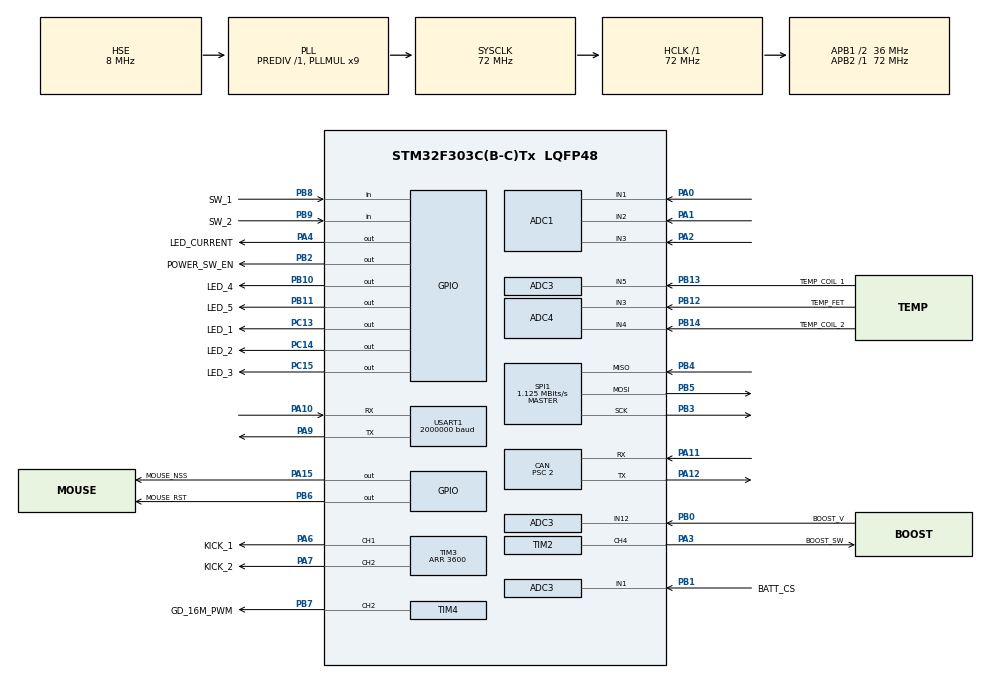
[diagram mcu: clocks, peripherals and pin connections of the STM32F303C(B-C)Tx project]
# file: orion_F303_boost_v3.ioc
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ADC1.ContinuousConvMode=ENABLE
ADC1.DMAContinuousRequests=DISABLE
ADC1.EnableRegularConversion=DISABLE
ADC1.InjNumberOfConversion=3
ADC1.InjectedChannel-10\#ChannelInjectedConversion=ADC_CHANNEL_3
ADC1.InjectedChannel-8\#ChannelInjectedConversion=ADC_CHANNEL_1
ADC1.InjectedChannel-9\#ChannelInjectedConversion=ADC_CHANNEL_2
ADC1.InjectedConvMode=AutoInjected
ADC1.InjectedOffset-10\#ChannelInjectedConversion=0
ADC1.InjectedOffset-8\#ChannelInjectedConversion=0
ADC1.InjectedOffset-9\#ChannelInjectedConversion=0
ADC1.InjectedOffsetNumber-10\#ChannelInjectedConversion=ADC_OFFSET_NONE
ADC1.InjectedOffsetNumber-8\#ChannelInjectedConversion=ADC_OFFSET_NONE
ADC1.InjectedOffsetNumber-9\#ChannelInjectedConversion=ADC_OFFSET_NONE
ADC1.InjectedRank-10\#ChannelInjectedConversion=3
ADC1.InjectedRank-8\#ChannelInjectedConversion=1
ADC1.InjectedRank-9\#ChannelInjectedConversion=2
ADC1.InjectedSamplingTime-10\#ChannelInjectedConversion=ADC_SAMPLETIME_181CYCLES_5
ADC1.InjectedSamplingTime-8\#ChannelInjectedConversion=ADC_SAMPLETIME_181CYCLES_5
ADC1.InjectedSamplingTime-9\#ChannelInjectedConversion=ADC_SAMPLETIME_181CYCLES_5
ADC1.InjectedSamplingTimeOPAMP-10\#ChannelInjectedConversion=ADC_SAMPLETIME_61CYCLES_5
ADC1.InjectedSamplingTimeOPAMP-8\#ChannelInjectedConversion=ADC_SAMPLETIME_61CYCLES_5
ADC1.InjectedSamplingTimeOPAMP-9\#ChannelInjectedConversion=ADC_SAMPLETIME_61CYCLES_5
ADC1.Rank1_Channel=ADC_CHANNEL_1
ADC1.Rank2_Channel=ADC_CHANNEL_2
ADC1.Rank3_Channel=ADC_CHANNEL_3
ADC1.master=1
ADC3.ContinuousConvMode=ENABLE
ADC3.DMAContinuousRequests=DISABLE
ADC3.EOCSelection=ADC_EOC_SEQ_CONV
ADC3.EnableInjectedConversion=ENABLE
ADC3.EnableRegularConversion=DISABLE
ADC3.InjNumberOfConversion=3
ADC3.InjectedChannel-3\#ChannelInjectedConversion=ADC_CHANNEL_1
ADC3.InjectedChannel-4\#ChannelInjectedConversion=ADC_CHANNEL_5
ADC3.InjectedChannel-5\#ChannelInjectedConversion=ADC_CHANNEL_12
ADC3.InjectedConvMode=AutoInjected
ADC3.InjectedOffset-3\#ChannelInjectedConversion=0
ADC3.InjectedOffset-4\#ChannelInjectedConversion=0
ADC3.InjectedOffset-5\#ChannelInjectedConversion=0
ADC3.InjectedOffsetNumber-3\#ChannelInjectedConversion=ADC_OFFSET_NONE
ADC3.InjectedOffsetNumber-4\#ChannelInjectedConversion=ADC_OFFSET_NONE
ADC3.InjectedOffsetNumber-5\#ChannelInjectedConversion=ADC_OFFSET_NONE
ADC3.InjectedRank-3\#ChannelInjectedConversion=1
ADC3.InjectedRank-4\#ChannelInjectedConversion=2
ADC3.InjectedRank-5\#ChannelInjectedConversion=3
ADC3.InjectedSamplingTime-3\#ChannelInjectedConversion=ADC_SAMPLETIME_181CYCLES_5
ADC3.InjectedSamplingTime-4\#ChannelInjectedConversion=ADC_SAMPLETIME_181CYCLES_5
ADC3.InjectedSamplingTime-5\#ChannelInjectedConversion=ADC_SAMPLETIME_181CYCLES_5
ADC3.InjectedSamplingTimeOPAMP-3\#ChannelInjectedConversion=ADC_SAMPLETIME_61CYCLES_5
ADC3.InjectedSamplingTimeOPAMP-4\#ChannelInjectedConversion=ADC_SAMPLETIME_61CYCLES_5
ADC3.InjectedSamplingTimeOPAMP-5\#ChannelInjectedConversion=ADC_SAMPLETIME_61CYCLES_5
ADC3.Mode=ADC_MODE_INDEPENDENT
ADC3.Overrun=ADC_OVR_DATA_OVERWRITTEN
ADC3.Rank1_Channel=ADC_CHANNEL_1
ADC3.Rank2_Channel=ADC_CHANNEL_5
ADC3.Rank3_Channel=ADC_CHANNEL_12
ADC3.master=1
ADC4.ContinuousConvMode=ENABLE
ADC4.DMAContinuousRequests=DISABLE
ADC4.EOCSelection=ADC_EOC_SINGLE_CONV
ADC4.EnableInjectedConversion=ENABLE
ADC4.EnableRegularConversion=DISABLE
ADC4.InjNumberOfConversion=2
ADC4.InjectedChannel-2\#ChannelInjectedConversion=ADC_CHANNEL_3
ADC4.InjectedChannel-3\#ChannelInjectedConversion=ADC_CHANNEL_4
ADC4.InjectedConvMode=AutoInjected
ADC4.InjectedOffset-2\#ChannelInjectedConversion=0
ADC4.InjectedOffset-3\#ChannelInjectedConversion=0
ADC4.InjectedOffsetNumber-2\#ChannelInjectedConversion=ADC_OFFSET_NONE
ADC4.InjectedOffsetNumber-3\#ChannelInjectedConversion=ADC_OFFSET_NONE
ADC4.InjectedRank-2\#ChannelInjectedConversion=1
ADC4.InjectedRank-3\#ChannelInjectedConversion=2
ADC4.InjectedSamplingTime-2\#ChannelInjectedConversion=ADC_SAMPLETIME_181CYCLES_5
ADC4.InjectedSamplingTime-3\#ChannelInjectedConversion=ADC_SAMPLETIME_181CYCLES_5
ADC4.InjectedSamplingTimeOPAMP-2\#ChannelInjectedConversion=ADC_SAMPLETIME_61CYCLES_5
ADC4.InjectedSamplingTimeOPAMP-3\#ChannelInjectedConversion=ADC_SAMPLETIME_61CYCLES_5
ADC4.Rank1_Channel=ADC_CHANNEL_3
ADC4.Rank2_Channel=ADC_CHANNEL_4
CAN.BS1=CAN_BS1_9TQ
CAN.BS2=CAN_BS2_8TQ
CAN.CalculateBaudRate=1000000
CAN.CalculateTimeBit=1000
CAN.CalculateTimeQuantum=55.55555555555556
CAN.NART=ENABLE
CAN.Prescaler=2
CAN.SJW=CAN_SJW_1TQ
Dma.ADC1.2.Direction=DMA_PERIPH_TO_MEMORY
Dma.ADC1.2.Instance=DMA1_Channel1
Dma.ADC1.2.MemDataAlignment=DMA_MDATAALIGN_HALFWORD
Dma.ADC1.2.MemInc=DMA_MINC_ENABLE
Dma.ADC1.2.Mode=DMA_CIRCULAR
Dma.ADC1.2.PeriphDataAlignment=DMA_PDATAALIGN_HALFWORD
Dma.ADC1.2.PeriphInc=DMA_PINC_DISABLE
Dma.ADC1.2.Priority=DMA_PRIORITY_LOW
Dma.ADC3.0.Direction=DMA_PERIPH_TO_MEMORY
Dma.ADC3.0.Instance=DMA2_Channel5
Dma.ADC3.0.MemDataAlignment=DMA_MDATAALIGN_HALFWORD
Dma.ADC3.0.MemInc=DMA_MINC_ENABLE
Dma.ADC3.0.Mode=DMA_CIRCULAR
Dma.ADC3.0.PeriphDataAlignment=DMA_PDATAALIGN_HALFWORD
Dma.ADC3.0.PeriphInc=DMA_PINC_DISABLE
Dma.ADC3.0.Priority=DMA_PRIORITY_MEDIUM
Dma.ADC4.1.Direction=DMA_PERIPH_TO_MEMORY
Dma.ADC4.1.Instance=DMA2_Channel2
Dma.ADC4.1.MemDataAlignment=DMA_MDATAALIGN_HALFWORD
Dma.ADC4.1.MemInc=DMA_MINC_ENABLE
Dma.ADC4.1.Mode=DMA_CIRCULAR
Dma.ADC4.1.PeriphDataAlignment=DMA_PDATAALIGN_HALFWORD
Dma.ADC4.1.PeriphInc=DMA_PINC_DISABLE
Dma.ADC4.1.Priority=DMA_PRIORITY_LOW
Dma.Request0=ADC3
Dma.Request1=ADC4
Dma.Request2=ADC1
Dma.Request3=USART1_TX
Dma.USART1_TX.3.Direction=DMA_MEMORY_TO_PERIPH
Dma.USART1_TX.3.Instance=DMA1_Channel4
Dma.USART1_TX.3.MemDataAlignment=DMA_MDATAALIGN_BYTE
Dma.USART1_TX.3.MemInc=DMA_MINC_ENABLE
Dma.USART1_TX.3.Mode=DMA_NORMAL
Dma.USART1_TX.3.PeriphDataAlignment=DMA_PDATAALIGN_BYTE
Dma.USART1_TX.3.PeriphInc=DMA_PINC_DISABLE
Dma.USART1_TX.3.Priority=DMA_PRIORITY_LOW
IWDG.Reload=100
IWDG.Window=100
Mcu.Family=STM32F3
Mcu.Name=STM32F303C(B-C)Tx
Mcu.Package=LQFP48
NVIC.DMA1_Channel1_IRQn=true\:0\:0\:false\:false\:true\:false\:true\:true
NVIC.DMA1_Channel4_IRQn=true\:0\:0\:false\:false\:true\:false\:true\:true
NVIC.DMA2_Channel2_IRQn=true\:0\:0\:false\:false\:true\:false\:true\:true
NVIC.DMA2_Channel5_IRQn=true\:0\:0\:false\:false\:true\:false\:true\:true
NVIC.PriorityGroup=NVIC_PRIORITYGROUP_4
NVIC.USART1_IRQn=true\:0\:0\:false\:false\:true\:true\:true\:true
NVIC.USB_HP_CAN_TX_IRQn=true\:1\:0\:true\:false\:true\:true\:true\:true
NVIC.USB_LP_CAN_RX0_IRQn=true\:1\:0\:true\:false\:true\:true\:true\:true
PA0.GPIO_Mode=GPIO_MODE_ANALOG
PA0.GPIO_PuPd=GPIO_NOPULL
PA0.Mode=IN1-Single-Ended
PA0.Signal=ADC1_IN1
PA1.GPIO_Mode=GPIO_MODE_ANALOG
PA1.GPIO_PuPd=GPIO_NOPULL
PA1.Mode=IN2-Single-Ended
PA1.Signal=ADC1_IN2
PA10.Mode=Asynchronous
PA10.Signal=USART1_RX
PA11.Mode=CAN_Activate
PA11.Signal=CAN_RX
PA12.Mode=CAN_Activate
PA12.Signal=CAN_TX
PA13.Mode=Serial_Wire
PA13.Signal=SYS_JTMS-SWDIO
PA14.Mode=Serial_Wire
PA14.Signal=SYS_JTCK-SWCLK
PA15.GPIO_Label=MOUSE_NSS
PA15.Signal=GPIO_Output
PA2.GPIO_Mode=GPIO_MODE_ANALOG
PA2.GPIO_PuPd=GPIO_NOPULL
PA2.Mode=IN3-Single-Ended
PA2.Signal=ADC1_IN3
PA3.GPIO_Label=BOOST_SW
PA3.Signal=S_TIM2_CH4
PA4.GPIO_Label=LED_CURRENT
PA4.Signal=GPIO_Output
PA6.GPIO_Label=KICK_1
PA6.Signal=S_TIM3_CH1
PA7.GPIO_Label=KICK_2
PA7.Signal=S_TIM3_CH2
PA9.Mode=Asynchronous
PA9.Signal=USART1_TX
PB0.GPIO_Label=BOOST_V
PB0.Mode=IN12-Single-Ended
PB0.Signal=ADC3_IN12
PB1.GPIO_Label=BATT_CS
PB1.Mode=IN1-Single-Ended
PB1.Signal=ADC3_IN1
PB10.GPIO_Label=LED_4
PB10.Signal=GPIO_Output
PB11.GPIO_Label=LED_5
PB11.Signal=GPIO_Output
PB12.GPIO_Label=TEMP_FET
PB12.Mode=IN3-Single-Ended
PB12.Signal=ADC4_IN3
PB13.GPIO_Label=TEMP_COIL_1
PB13.Mode=IN5-Single-Ended
PB13.Signal=ADC3_IN5
PB14.GPIO_Label=TEMP_COIL_2
PB14.Mode=IN4-Single-Ended
PB14.Signal=ADC4_IN4
PB2.GPIO_Label=POWER_SW_EN
PB2.Signal=GPIO_Output
PB3.Mode=Full_Duplex_Master
PB3.Signal=SPI1_SCK
PB4.Mode=Full_Duplex_Master
PB4.Signal=SPI1_MISO
PB5.Mode=Full_Duplex_Master
PB5.Signal=SPI1_MOSI
PB6.GPIO_Label=MOUSE_RST
PB6.Signal=GPIO_Output
PB7.GPIO_Label=GD_16M_PWM
PB7.Signal=S_TIM4_CH2
PB8.GPIO_Label=SW_1
PB8.GPIO_PuPd=GPIO_PULLUP
PB8.Signal=GPIO_Input
PB9.GPIO_Label=SW_2
PB9.GPIO_PuPd=GPIO_PULLUP
PB9.Signal=GPIO_Input
PC13.GPIO_Label=LED_1
PC13.Signal=GPIO_Output
PC14-OSC32_IN.GPIO_Label=LED_2
PC14-OSC32_IN.Signal=GPIO_Output
PC15-OSC32_OUT.GPIO_Label=LED_3
PC15-OSC32_OUT.Signal=GPIO_Output
PF0-OSC_IN.Mode=HSE-External-Oscillator
PF0-OSC_IN.Signal=RCC_OSC_IN
PF1-OSC_OUT.Mode=HSE-External-Oscillator
PF1-OSC_OUT.Signal=RCC_OSC_OUT
ProjectManager.HeapSize=0x200
ProjectManager.StackSize=0x400
ProjectManager.TargetToolchain=STM32CubeIDE
RCC.AHBFreq_Value=72000000
RCC.APB1CLKDivider=RCC_HCLK_DIV2
RCC.APB1Freq_Value=36000000
RCC.APB1TimFreq_Value=72000000
RCC.APB2Freq_Value=72000000
RCC.APB2TimFreq_Value=72000000
RCC.CortexFreq_Value=72000000
RCC.HCLKFreq_Value=72000000
RCC.HSE_VALUE=8000000
RCC.HSI_VALUE=8000000
RCC.LSE_VALUE=32768
RCC.PLLMUL=RCC_PLL_MUL9
RCC.PLLSourceVirtual=RCC_PLLSOURCE_HSE
RCC.SYSCLKFreq_VALUE=72000000
RCC.SYSCLKSourceVirtual=RCC_SYSCLKSOURCE_PLLCLK
RCC.USBFreq_Value=72000000
SH.S_TIM2_CH4.0=TIM2_CH4,PWM Generation4 CH4
SH.S_TIM3_CH1.0=TIM3_CH1,PWM Generation1 CH1
SH.S_TIM3_CH2.0=TIM3_CH2,PWM Generation2 CH2
SH.S_TIM4_CH2.0=TIM4_CH2,PWM Generation2 CH2
SPI1.BaudRatePrescaler=SPI_BAUDRATEPRESCALER_64
SPI1.CLKPhase=SPI_PHASE_2EDGE
SPI1.CLKPolarity=SPI_POLARITY_HIGH
SPI1.CalculateBaudRate=1.125 MBits/s
SPI1.DataSize=SPI_DATASIZE_8BIT
SPI1.Direction=SPI_DIRECTION_2LINES
SPI1.Mode=SPI_MODE_MASTER
SPI1.VirtualType=VM_MASTER
TIM1.AutoReloadPreload=TIM_AUTORELOAD_PRELOAD_ENABLE
TIM1.Period=65535
TIM1.Prescaler=72
TIM2.Channel-PWM\ Generation4\ CH4=TIM_CHANNEL_4
TIM2.Period=2000
TIM3.Channel-PWM\ Generation1\ CH1=TIM_CHANNEL_1
TIM3.Channel-PWM\ Generation2\ CH2=TIM_CHANNEL_2
TIM3.Period=3600
TIM4.Channel-PWM\ Generation2\ CH2=TIM_CHANNEL_2
TIM4.Period=3600
USART1.BaudRate=2000000
USART1.VirtualMode-Asynchronous=VM_ASYNC
VP_IWDG_VS_IWDG.Mode=IWDG_Activate
VP_TIM1_VS_ClockSourceINT.Mode=Internal
board=custom

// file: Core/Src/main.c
/* USER CODE BEGIN Header */
/**
 ******************************************************************************
 * @file           : main.c
 * @brief          : Main program body
 ******************************************************************************
 * @attention
 *
 * Copyright (c) 2022 STMicroelectronics.
 * All rights reserved.
 *
 * This software is licensed under terms that can be found in the LICENSE file
 * in the root directory of this software component.
 * If no LICENSE file comes with this software, it is provided AS-IS.
 *
 ******************************************************************************
 */
/* USER CODE END Header */
#include "main.h"

#include "adc.h"
#include "can.h"
#include "dma.h"
#include "gpio.h"
#include "iwdg.h"
#include "spi.h"
#include "tim.h"
#include "usart.h"

/* USER CODE BEGIN Includes */
#include <stdarg.h>
#include <stdbool.h>
#include <stdint.h>
#include <stdio.h>
#include <stdlib.h>
#include <string.h>

#include "adns3080.h"
#include "fw_version.h"
/* USER CODE END Includes */

/* USER CODE BEGIN PM */
#define TIM_KICK_PERI (2000)
#define PWM_CNT (700)
// 750だとちょっとオーバーヒート早いかも
// <750
// 750 -> 0.76~0.78s(450V)

/* USER CODE END PM */

/* USER CODE BEGIN PV */

const fw_version_t g_fw_version __attribute__((section(".fw_version"), used)) = {FW_VERSION_MAGIC, 0U};

/* USER CODE END PV */

void SystemClock_Config(void);

/* USER CODE BEGIN 0 */
volatile struct
{
  bool charge_enabled;
  bool kick_chip_selected;
  float target_voltage;
  int kick_power;
  int sw_enable_cnt;
  float min_v, max_v, max_c, fet_temp, coil_temp;
} power_cmd;

void setTargetVoltage(float target)
{
  if (target > 450) {
    return;
    target = 450;
  }
  if (target < 20) {
    return;
    target = 20;
  }
  power_cmd.target_voltage = target;
}

volatile struct
{
  uint32_t print_loop_cnt, kick_cnt;
  int boost_cnt;
  bool power_enabled;
  uint16_t error;
  float error_value;
  uint32_t system_loop_cnt;
} stat;

void startKick(uint8_t power)
{
  if (stat.kick_cnt == 0) {
    stat.kick_cnt = 100;
    stat.boost_cnt = 0;
    power_cmd.kick_power = TIM_KICK_PERI * power / 255;
    p("start kick! : %d\n", power_cmd.kick_power);
  }
}

void startCharge()
{
  if (stat.boost_cnt == 0 && stat.kick_cnt == 0) {
    // printf("boost start!!\n");
    stat.boost_cnt = 1000;
  }
}

uint32_t can_rx_cnt = 0;

#define OTA_ENTRY_CAN_ID (0x600U)
#define OTA_NODE_ID (100U)
#define OTA_METADATA_ADDRESS (0x0801F800U)

static bool ota_entry_matches(const CAN_RxHeaderTypeDef *header, const uint8_t data[8])
{
  return header->StdId == OTA_ENTRY_CAN_ID && memcmp(data, "OFWUP", 5U) == 0 && data[5] == OTA_NODE_ID;
}

static uint8_t power_state_flags(void)
{
  uint8_t flags = 0U;
  if (__HAL_TIM_GET_COMPARE(&htim2, TIM_CHANNEL_4) != 0U) flags |= 1U;
  if (__HAL_TIM_GET_COMPARE(&htim3, TIM_CHANNEL_1) != 0U ||
      __HAL_TIM_GET_COMPARE(&htim3, TIM_CHANNEL_2) != 0U) flags |= 2U;
  if (power_cmd.charge_enabled) flags |= 4U;
  if (stat.power_enabled || power_cmd.sw_enable_cnt != 0) flags |= 8U;
  if (HAL_GPIO_ReadPin(POWER_SW_EN_GPIO_Port, POWER_SW_EN_Pin) != GPIO_PIN_RESET) flags |= 16U;
  return flags;
}

static void power_update_safe_stop(void)
{
  power_cmd.charge_enabled = false;
  power_cmd.target_voltage = 0.0F;
  power_cmd.sw_enable_cnt = 0;
  stat.boost_cnt = 0;
  stat.kick_cnt = 0U;
  stat.power_enabled = false;
  __HAL_TIM_SET_COMPARE(&htim2, TIM_CHANNEL_4, 0U);
  __HAL_TIM_SET_COMPARE(&htim3, TIM_CHANNEL_1, 0U);
  __HAL_TIM_SET_COMPARE(&htim3, TIM_CHANNEL_2, 0U);
  powerOutputDisable();
  __DMB();
}

static void enter_firmware_update(void)
{
  FLASH_EraseInitTypeDef erase = {0};
  uint32_t page_error = 0U;
  /* 高電圧系を停止してからmetadataを無効化し、常駐bootloaderへresetする。 */
  power_update_safe_stop();
  TIM2->CR1 &= ~TIM_CR1_CEN;
  TIM3->CR1 &= ~TIM_CR1_CEN;
  TIM4->CR1 &= ~TIM_CR1_CEN;
  IWDG->KR = 0xAAAAU;
  __disable_irq();
  erase.TypeErase = FLASH_TYPEERASE_PAGES;
  erase.PageAddress = OTA_METADATA_ADDRESS;
  erase.NbPages = 1U;
  (void)HAL_FLASH_Unlock();
  (void)HAL_FLASHEx_Erase(&erase, &page_error);
  (void)HAL_FLASH_Lock();
  NVIC_SystemReset();
  for (;;) {}
}

void HAL_CAN_RxFifo0MsgPendingCallback(CAN_HandleTypeDef * hcan)
{
  CAN_RxHeaderTypeDef can_rx_header;
  can_msg_buf_t rx;

  if (HAL_CAN_GetRxMessage(hcan, CAN_RX_FIFO0, &can_rx_header, rx.data) != HAL_OK) {
    /* Reception Error */
    Error_Handler();
  }

  if (ota_entry_matches(&can_rx_header, rx.data)) {
    enter_firmware_update();
  }
  if (can_rx_header.StdId == 0x611U && can_rx_header.DLC == 8U && rx.data[0] == OTA_NODE_ID) {
    const uint32_t image_crc = *(const uint32_t *)(OTA_METADATA_ADDRESS + 28U);
    sendFirmwareVersion(fw_version_build_id(), image_crc);
    return;
  }

  can_rx_cnt++;
  switch (can_rx_header.StdId) {
    case 0x000:  // emg stop
      power_cmd.charge_enabled = false;
      break;
    case 0x001:
      // エラー時のみリセット
      if (rx.data[0] == 0x5A && rx.data[1] == 0xA5 && stat.error != POWER_NONE) {
        NVIC_SystemReset();
      }
      break;
    case 0x10:
      switch (rx.data[0]) {
        case POWER_OUT:
          if (rx.power_en.enable) {
            power_cmd.sw_enable_cnt = 200;
          } else {
            power_update_safe_stop();
          }
          break;
        case MIN_VOLTAGE:
          power_cmd.min_v = rx.set_protect_param.value;
          break;
        case MAX_VOLTAGE:
          power_cmd.max_v = rx.set_protect_param.value;
          break;
        case MAX_CURRENT:
          power_cmd.max_c = rx.set_protect_param.value;
          break;
        case MAX_TEMP_FET:
          power_cmd.fet_temp = rx.set_protect_param.value;
          break;
        case MAX_TEMP_SOLENOID:
          power_cmd.coil_temp = rx.set_protect_param.value;
          break;
        default:
          break;
      }

      break;
    case 0x110:  // power control
      switch (rx.power.idx) {
        case 0:  // set boost voltage
          setTargetVoltage(rx.power.value);
          break;
        case 1:  // charge enable
          if (rx.data[1] == 1) {
            // printf("[CAN] charge enable!\n");
            power_cmd.charge_enabled = true;
            startCharge();
          } else {
            // printf("[CAN] charge disable!\n");
            power_update_safe_stop();
          }
          break;
        case 2:  // kicker select
          if (rx.data[1] == 1) {
            // printf("[CAN] select chip kicker\n");
            power_cmd.kick_chip_selected = true;
          } else {
            // printf("[CAN] select straight kicker \n");
            power_cmd.kick_chip_selected = false;
          }
          break;
        case 3:  // kick !
          // p("[CAN] kick!\n");
          startKick(rx.data[1]);
          break;
        default:
          break;
      }
      break;
    default:
      break;
  }
}

uint8_t uart1_rx_it_buffer;
uint32_t uart1_rx_cnt = 0;
void HAL_UART_RxCpltCallback(UART_HandleTypeDef * huart)
{
  if (huart->Instance == USART1) {
    uart1_rx_cnt++;
    HAL_UART_Receive_IT(&huart1, &uart1_rx_it_buffer, 1);
  }
}

struct
{
  float boost_v, batt_v, gd_16p, gd_16m, batt_cs;
  float temp_coil_1, temp_coil_2, temp_fet;
} sensor;
struct
{
  float batt_v_min, batt_v_max;
  float gd_16p_min, gd_16m_min;
  float batt_cs_max;
} peak;

void updateADCs(void)
{
  float temp = 0;

  temp = (float)HAL_ADCEx_InjectedGetValue(&hadc1, ADC_INJECTED_RANK_1) * 3.3 / 4096 * 11 / 1;
  sensor.batt_v = temp;

  temp = (float)HAL_ADCEx_InjectedGetValue(&hadc1, ADC_INJECTED_RANK_2) * 3.3 / 4096 * 11 / 1;
  sensor.gd_16p = temp;

  temp = (((float)HAL_ADCEx_InjectedGetValue(&hadc1, ADC_INJECTED_RANK_3) * 3.3 / 4096) * 21 - sensor.gd_16p * 11) / 10;
  sensor.gd_16m = temp;

  temp = (float)HAL_ADCEx_InjectedGetValue(&hadc3, ADC_INJECTED_RANK_3) * 213 * 3.3 / 4096 * 1.1;
  sensor.boost_v = temp;
  // INA199x1 : 50 V/V
  //  2m ohm x 50VV -> 100m V / A
  // 33A-max (v3 board)

  // ZXCT1085 : 25V/V
  //  2m ohm x 25VV -> 50m V / A
  // 66A-max (v4 board)
  temp = ((float)HAL_ADCEx_InjectedGetValue(&hadc3, ADC_INJECTED_RANK_1) * 3.3 / 4096) * 20 - 2;  // 2A offset is manual offfset (~0.14V~)
  sensor.batt_cs = temp;

  temp = (-((float)HAL_ADCEx_InjectedGetValue(&hadc4, ADC_INJECTED_RANK_1) * 3.3 / 4096) + 1.5) * 70 + 25;
  sensor.temp_fet = sensor.temp_fet * 0.99 + temp * 0.01;

  temp = (-((float)HAL_ADCEx_InjectedGetValue(&hadc3, ADC_INJECTED_RANK_2) * 3.3 / 4096) + 1.5) * 70 + 25;
  sensor.temp_coil_1 = sensor.temp_coil_1 * 0.99 + temp * 0.01;

  temp = (-((float)HAL_ADCEx_InjectedGetValue(&hadc4, ADC_INJECTED_RANK_2) * 3.3 / 4096) + 1.5) * 70 + 25;
  sensor.temp_coil_2 = sensor.temp_coil_2 * 0.99 + temp * 0.01;
  // 25 deg = 10k/10k+10k = 0.5*3.3 = 1.85V
  // 75 deg = 1.7k/1.7k+10k = 0.0145*3.3 = 0.48V
  // 1.37V / 50 deg
  // 36.5 deg / V

  // real : normal -> 1.4V
  // 80~100deg -> 0.7V
  // 0.7V / 50 deg ->

  if (sensor.batt_v < peak.batt_v_min) {
    peak.batt_v_min = sensor.batt_v;
  }
  if (sensor.batt_v > peak.batt_v_max) {
    peak.batt_v_max = sensor.batt_v;
  }
  if (sensor.batt_cs > peak.batt_cs_max) {
    peak.batt_cs_max = sensor.batt_cs;
  }
  if (sensor.gd_16p < peak.gd_16p_min) {
    peak.gd_16p_min = sensor.gd_16p;
  }
  if (sensor.gd_16m > peak.gd_16m_min) {
    peak.gd_16m_min = sensor.gd_16m;
  }
}

#define FET_TEST_TEMP (80)
#define COIL_OVER_HEAT_TEMP (80)

void protecter(void)
{
  static uint16_t pre_sys_error = POWER_NONE;
  if (sensor.batt_v < 18 && stat.power_enabled) {
    stat.error |= POWER_UNDER_VOLTAGE;
    stat.error_value = sensor.batt_v;
    if (pre_sys_error != stat.error) {
      p("\n\n[ERR] POWER_UNDER_VOLTAGE\n\n");
    }
  }
  if (sensor.batt_v > 35) {
    stat.error |= POWER_OVER_VOLTAGE;
    stat.error_value = sensor.batt_v;
    if (pre_sys_error != stat.error) {
      p("\n\n[ERR] POWER_OVER_VOLTAGE\n\n");
    }
  }
  if (sensor.batt_cs > 30) {
    stat.error |= POWER_SHORT_CURCUIT;
    stat.error_value = sensor.batt_cs;
    if (pre_sys_error != stat.error) {
      p("\n\n[ERR] POWER_SHORT_CURCUIT\n\n");
    }
  }
  if (stat.boost_cnt > 10) {
    if (sensor.batt_cs > 25) {
      stat.error |= POWER_OVER_CURRENT;
      stat.error_value = sensor.batt_cs;
      if (pre_sys_error != stat.error) {
        p("\n\n[ERR] POWER_OVER_CURRENT cnt %d\n\n", stat.boost_cnt);
      }
    }
  } else {
    if (sensor.batt_cs > 12) {
      stat.error |= POWER_OVER_CURRENT;
      stat.error_value = sensor.batt_cs;
      if (pre_sys_error != stat.error) {
        p("\n\n[ERR] POWER_OVER_CURRENT %d\n\n", stat.boost_cnt);
      }
    }
  }
  if (sensor.gd_16p < 10) {
    stat.error |= POWER_GD_POWER_FAIL;
    stat.error_value = sensor.gd_16p;
    if (pre_sys_error != stat.error) {
      p("\n\n[ERR] POWER_GD_POWER_FAIL P\n\n");
    }
  }
  if (sensor.gd_16m > -5) {
    stat.error |= POWER_GD_POWER_FAIL;
    stat.error_value = sensor.gd_16m;
    if (pre_sys_error != stat.error) {
      p("\n\n[ERR] POWER_GD_POWER_FAIL M\n\n");
    }
  }

  if (sensor.boost_v > 460) {
    stat.error |= POWER_NO_CAP;
    stat.error_value = sensor.boost_v;
    if (pre_sys_error != stat.error) {
      p("\n\n[ERR] POWER_NO_CAP\n\n");
    }
  }

  if (sensor.temp_coil_1 > COIL_OVER_HEAT_TEMP || sensor.temp_coil_2 > COIL_OVER_HEAT_TEMP) {
    stat.error |= POWER_COIL_OVER_HEAT;
    if (sensor.temp_coil_1 > sensor.temp_coil_2) {
      stat.error_value = sensor.temp_coil_1;
    } else {
      stat.error_value = sensor.temp_coil_2;
    }
    if (pre_sys_error != stat.error) {
      p("\n\n[ERR] POWER_COIL_OVER_HEAT\n\n");
    }
  }

  if (sensor.temp_fet > FET_TEST_TEMP) {
    stat.error |= POWER_FET_OVER_HEAT;
    stat.error_value = sensor.temp_fet;
    if (pre_sys_error != stat.error) {
      p("\n\n[ERR] POWER_FET_OVER_HEAT\n\n");
    }
  }

  if (stat.error && stat.error != pre_sys_error) {
    powerOutputDisable();  // output disable
    __HAL_TIM_SET_COMPARE(&htim3, TIM_CHANNEL_1, 0);
    __HAL_TIM_SET_COMPARE(&htim3, TIM_CHANNEL_2, 0);
    __HAL_TIM_SET_COMPARE(&htim2, TIM_CHANNEL_4, 0);
    sendCanError(stat.error, stat.error_value);

    p("[ERR] power line error!!! / battv %6.2f battcs %6.3f / GDp %+5.2f GDm %+5.2f boost %6.2f\n", sensor.batt_v, sensor.batt_cs, sensor.gd_16p, sensor.gd_16m, sensor.boost_v);
    if (stat.error == POWER_UNDER_VOLTAGE) {
      // discharge!!
      p("POWER_DISCHARGE!!!\n");
      __HAL_TIM_SET_COMPARE(&htim3, TIM_CHANNEL_1, TIM_KICK_PERI / 20);
      __HAL_TIM_SET_COMPARE(&htim3, TIM_CHANNEL_2, TIM_KICK_PERI / 20);
      HAL_Delay(1000);
    } else {
      stat.kick_cnt = 0;
      stat.boost_cnt = 0;
    }
  }
  pre_sys_error = stat.error;
}

void boostControl(void)
{
  static int temp_pwm_autoreload = 1000, pre_pwm_autoreload = 0;

  if (sensor.boost_v < power_cmd.target_voltage && stat.boost_cnt > 0) {
    stat.boost_cnt--;
    if (sensor.boost_v < 50) {
      temp_pwm_autoreload = PWM_CNT * 10;
    } else if (sensor.boost_v < 100) {
      temp_pwm_autoreload = PWM_CNT * 3;
    } else if (sensor.boost_v < 200) {
      temp_pwm_autoreload = PWM_CNT * 1.5;
    } else if (sensor.boost_v < 300) {
      temp_pwm_autoreload = PWM_CNT * 1.4;
    } else if (sensor.boost_v < 400) {
      temp_pwm_autoreload = PWM_CNT * 1.3;
    } else {
      temp_pwm_autoreload = PWM_CNT * 1.25;
    }
    if (pre_pwm_autoreload != temp_pwm_autoreload) {
      htim2.Instance->CNT = 0;
      __HAL_TIM_SET_AUTORELOAD(&htim2, temp_pwm_autoreload);
    }
    __HAL_TIM_SET_COMPARE(&htim2, TIM_CHANNEL_4, PWM_CNT);
    pre_pwm_autoreload = temp_pwm_autoreload;

    setChargingLedHigh();
    if (stat.boost_cnt == 0) {
      p("[ERR] boost timeout!!\n");
      __HAL_TIM_SET_COMPARE(&htim2, TIM_CHANNEL_4, 0);
    }
  } else {
    if (stat.boost_cnt != 0) {
      if (stat.boost_cnt < 900) {
        p("boost end!! / %4.2f V / %3d\n", sensor.boost_v, 1000 - stat.boost_cnt);
      }
      stat.boost_cnt = 0;
    }
    __HAL_TIM_SET_COMPARE(&htim2, TIM_CHANNEL_4, 0);
    setChargingLedLow();
  }
}

void kickControl(void)
{
  if (stat.kick_cnt > 0) {
    // kick!!!
    if (power_cmd.kick_chip_selected) {
      __HAL_TIM_SET_COMPARE(&htim3, TIM_CHANNEL_2, power_cmd.kick_power);  // chip
      __HAL_TIM_SET_COMPARE(&htim3, TIM_CHANNEL_1, 0);
    } else {
      __HAL_TIM_SET_COMPARE(&htim3, TIM_CHANNEL_1, power_cmd.kick_power);  // straight
      __HAL_TIM_SET_COMPARE(&htim3, TIM_CHANNEL_2, 0);
    }
    stat.kick_cnt--;

    if (sensor.boost_v < 30) {
      stat.kick_cnt = 0;
      p("complete discharge!!\n");
    }

    if (stat.kick_cnt == 0) {
      // p("kick end!!\n");
      __HAL_TIM_SET_COMPARE(&htim3, TIM_CHANNEL_1, 0);
      __HAL_TIM_SET_COMPARE(&htim3, TIM_CHANNEL_2, 0);
      if (power_cmd.charge_enabled) {
        // p("continue charge!!\n");
        startCharge();
      }
    }
  } else {
    // idol
    __HAL_TIM_SET_COMPARE(&htim3, TIM_CHANNEL_1, 0);
    __HAL_TIM_SET_COMPARE(&htim3, TIM_CHANNEL_2, 0);
  }
}

void userInterface(void)
{
  static bool pre_sw_pushed[2], user_control_chip_select = false;
  static uint32_t print_idx = 0;

  // User SW control
  if (isPushedUserSw1()) {
    if (!pre_sw_pushed[0] && power_cmd.sw_enable_cnt == 0) {
      pre_sw_pushed[0] = true;
      p("[USR] kick start!! : chip %d\n", user_control_chip_select);
      startKick(100);
      power_cmd.sw_enable_cnt = 1000;
      power_cmd.kick_chip_selected = user_control_chip_select;
      user_control_chip_select = !user_control_chip_select;
    }
  } else {
    pre_sw_pushed[0] = false;
  }
  if (isPushedUserSw2()) {
    if (!pre_sw_pushed[1]) {
      pre_sw_pushed[1] = true;
      p("[USR] boost start!!\n");
      startCharge();
      power_cmd.sw_enable_cnt = 1000;
    }
  } else {
    pre_sw_pushed[1] = false;
  }

  stat.print_loop_cnt++;
  // debug print
  if (stat.print_loop_cnt >= 50) {
    stat.print_loop_cnt = 0;

    if (uart1_rx_cnt) {
      uart1_rx_cnt = 0;
      print_idx++;
    }

    if (stat.error) {
      p("E:0x%04x ", stat.error);
    } else {
      p("         ");
    }
    switch (print_idx) {
      case 0:
        p("PW %3d BV %3.0f, CK %d, Ch %d / TargetV %3.0f,", power_cmd.sw_enable_cnt, power_cmd.target_voltage, power_cmd.kick_chip_selected, power_cmd.charge_enabled, power_cmd.target_voltage);

        p("BattV %3.1f, BoostV %3.0f, BattCS %+5.1f fet %2.0f coil1 %2.0f coil2 %2.0f ", sensor.batt_v, sensor.boost_v, sensor.batt_cs, sensor.temp_fet, sensor.temp_coil_1, sensor.temp_coil_2);
        p("XX %+8.2f YY %+8.2f %6d", get_XX_ADNS3080(), get_YY_ADNS3080(), get_ShutterSpeed_ADNS3080());
        p("loop %4d D x%+3d y%+3d I x%+6d y%+6d Q%3d\n", stat.system_loop_cnt, get_DeltaX_ADNS3080(), get_DeltaY_ADNS3080(), get_X_ADNS3080(), get_Y_ADNS3080(), get_Qualty_ADNS3080());
        break;

      case 1:
        //p("Vm %3.1f VM %3.1f CM %3.1f DF %3.1f DC %3.1f", power_cmd.min_v, power_cmd.max_v, power_cmd.max_c, power_cmd.fet_temp, power_cmd.coil_temp);
        p("BattV %3.1f GD-P %+4.1f GD-N %+4.1f BoostV %3.0f ", sensor.batt_v, sensor.gd_16p, sensor.gd_16m, sensor.boost_v);
        p("BattCS %+5.1f fet %2.0f coil1 %2.0f coil2 %2.0f / ", sensor.batt_cs, sensor.temp_fet, sensor.temp_coil_1, sensor.temp_coil_2);
        p("PEAK BattV-max %3.1f BattV-min %3.1f GD+ min %+4.1f GD- min %+4.1f BattCS %+5.1f\n", peak.batt_v_max, peak.batt_v_min, peak.gd_16p_min, peak.gd_16m_min, peak.batt_cs_max);
        break;

      default:
        print_idx = 0;
        break;
    }

    if (!stat.power_enabled && stat.error) {
      p("!! clear Error : %d !!\n", stat.error);
      stat.error = 0;
    }
  }
  // charge-indication
  if (sensor.boost_v > 100) {
    setHVWarningLedHigh();
  } else {
    setHVWarningLedLow();
  }
}

void canDataSender()
{
  static uint8_t data_idx = 0;
  data_idx++;
  switch (data_idx) {
    case 1:
      sendCanTemp((uint8_t)sensor.temp_fet, (uint8_t)sensor.temp_coil_1, (uint8_t)sensor.temp_coil_2);
      break;
    case 2:
      sendCanBatteryVoltage(sensor.batt_v);
      break;
    case 3:
      sendCanKickerVoltage(sensor.boost_v);
      break;
    case 4:
      sendCanBatteryCurrent(sensor.batt_cs);
      break;
    case 5:
      sendCanPowerStatus(power_state_flags());
      break;

    default:
      data_idx = 0;
      break;
  }
}

void connectionTest(void)
{
  // 接続テスト中にリセットコマンド来たらリセットするため
  stat.error = POWER_PRE_TEST;

  while (1) {
    updateADCs();
    HAL_Delay(100);
    p("Pre-test : BattV %3.1f, GD+ %+4.1f GD- %+4.1f,BoostV %5.1f, BattCS %+5.1f fet %3.1f coil1 %3.1f coil2 %3.1f\n", sensor.batt_v, sensor.gd_16p, sensor.gd_16m, sensor.boost_v, sensor.batt_cs,
      sensor.temp_fet, sensor.temp_coil_1, sensor.temp_coil_2);
    if (
      sensor.batt_v > 20 && sensor.gd_16p > 11 && sensor.gd_16m < -8 && sensor.batt_cs < 0.5 && sensor.temp_fet < FET_TEST_TEMP && sensor.temp_coil_1 < COIL_OVER_HEAT_TEMP &&
      sensor.temp_coil_2 < COIL_OVER_HEAT_TEMP) {
      p("Pre-test OK!!\n");
      break;
    }
  }
  powerOutputEnable();

  setChargingLedLow();
  setCanEnCmdLedHigh();
  setHVWarningLedLow();
  setOutSwLedHigh();
  setErrorLedLow();

  int timeout_cnt = 0;
  while (1) {
    timeout_cnt++;
    updateADCs();
    if (
      sensor.batt_v > 20 && sensor.gd_16p > 11 && sensor.gd_16m < -8 && sensor.batt_cs < 0.5 && sensor.temp_fet < FET_TEST_TEMP && sensor.temp_coil_1 < COIL_OVER_HEAT_TEMP &&
      sensor.temp_coil_2 < COIL_OVER_HEAT_TEMP) {
      p("PowerOn-test   OK!! cnt %3d : ", timeout_cnt);
      p("BattV %3.1f, GD+ %+4.1f GD- %+4.1f,BoostV %5.1f, BattCS %+5.1f fet %3.1f coil1 %3.1f coil2 %3.1f\n", sensor.batt_v, sensor.gd_16p, sensor.gd_16m, sensor.boost_v, sensor.batt_cs,
        sensor.temp_fet, sensor.temp_coil_1, sensor.temp_coil_2);
      break;
    }
    if (timeout_cnt > 10) {
      powerOutputDisable();
      p("PowerOn-test FAIL!! : ");
      p("BattV %3.1f, GD+ %+4.1f GD- %+4.1f,BoostV %5.1f, BattCS %+5.1f fet %3.1f coil1 %3.1f coil2 %3.1f\n", sensor.batt_v, sensor.gd_16p, sensor.gd_16m, sensor.boost_v, sensor.batt_cs,
        sensor.temp_fet, sensor.temp_coil_1, sensor.temp_coil_2);
      setErrorLedHigh();
      while (1);
    }
  }

  setChargingLedLow();
  setCanEnCmdLedHigh();
  setHVWarningLedHigh();
  setOutSwLedHigh();
  setErrorLedLow();

  timeout_cnt = 0;
  __HAL_TIM_SET_COMPARE(&htim3, TIM_CHANNEL_1, TIM_KICK_PERI / 10);
  __HAL_TIM_SET_COMPARE(&htim3, TIM_CHANNEL_2, TIM_KICK_PERI / 10);

  while (1) {
    timeout_cnt++;
    updateADCs();
    HAL_Delay(1);
    if (
      sensor.batt_v > 20 && sensor.gd_16p > 11 && sensor.gd_16m < -8 && sensor.batt_cs < 0.5 && sensor.temp_fet < FET_TEST_TEMP && sensor.temp_coil_1 < COIL_OVER_HEAT_TEMP &&
      sensor.temp_coil_2 < COIL_OVER_HEAT_TEMP && sensor.boost_v < 20) {
      p("DisCharge-test OK!! cnt %3d : ", timeout_cnt);
      p("BattV %3.1f, GD+ %+4.1f GD- %+4.1f,BoostV %5.1f, BattCS %+5.1f fet %3.1f coil1 %3.1f coil2 %3.1f\n", sensor.batt_v, sensor.gd_16p, sensor.gd_16m, sensor.boost_v, sensor.batt_cs,
        sensor.temp_fet, sensor.temp_coil_1, sensor.temp_coil_2);
      break;
    }
    if (timeout_cnt > 1000) {
      // capacitor is charged & dis charge circuit not works
      p("DisCharge-test FAIL!! : ");
      p("BattV %3.1f, GD+ %+4.1f GD- %+4.1f,BoostV %5.1f, BattCS %+5.1f fet %3.1f coil1 %3.1f coil2 %3.1f\n", sensor.batt_v, sensor.gd_16p, sensor.gd_16m, sensor.boost_v, sensor.batt_cs,
        sensor.temp_fet, sensor.temp_coil_1, sensor.temp_coil_2);
      setErrorLedHigh();
      while (1);
    }
  }

  setChargingLedHigh();
  setCanEnCmdLedLow();
  setHVWarningLedHigh();
  setOutSwLedHigh();
  setErrorLedLow();

  __HAL_TIM_SET_COMPARE(&htim3, TIM_CHANNEL_1, 0);
  __HAL_TIM_SET_COMPARE(&htim3, TIM_CHANNEL_2, 0);

  timeout_cnt = 0;
  __HAL_TIM_SET_AUTORELOAD(&htim2, 72000);
  __HAL_TIM_SET_COMPARE(&htim2, TIM_CHANNEL_4, 100);

  while (1) {
    timeout_cnt++;
    updateADCs();
    if (sensor.boost_v > 30 || sensor.batt_cs > 1.0) {
      powerOutputDisable();
      __HAL_TIM_SET_COMPARE(&htim2, TIM_CHANNEL_4, 0);
      p("Capacitor-test FAIL!! %d : ", timeout_cnt);
      p("BattV %3.1f, GD+ %+4.1f GD- %+4.1f,BoostV %5.1f, BattCS %+5.1f fet %3.1f coil1 %3.1f coil2 %3.1f\n", sensor.batt_v, sensor.gd_16p, sensor.gd_16m, sensor.boost_v, sensor.batt_cs,
        sensor.temp_fet, sensor.temp_coil_1, sensor.temp_coil_2);
      setErrorLedHigh();
      while (1);
    }
    if (timeout_cnt > 100) {
      p("Capacitor-test OK!! cnt %3d : ", timeout_cnt);
      p("BattV %3.1f, GD+ %+4.1f GD- %+4.1f,BoostV %5.1f, BattCS %+5.1f fet %3.1f coil1 %3.1f coil2 %3.1f\n", sensor.batt_v, sensor.gd_16p, sensor.gd_16m, sensor.boost_v, sensor.batt_cs,
        sensor.temp_fet, sensor.temp_coil_1, sensor.temp_coil_2);
      break;
    }
    HAL_Delay(1);
  }
  __HAL_TIM_SET_COMPARE(&htim2, TIM_CHANNEL_4, 0);

  stat.error = POWER_NONE;
}

/* USER CODE END 0 */

int main(void)
{

  /* MCU Configuration--------------------------------------------------------*/

  /* Reset of all peripherals, Initializes the Flash interface and the Systick. */
  HAL_Init();

  /* Configure the system clock */
  SystemClock_Config();

  /* Initialize all configured peripherals */
  MX_GPIO_Init();
  MX_DMA_Init();
  MX_ADC1_Init();
  MX_ADC3_Init();
  MX_ADC4_Init();
  MX_CAN_Init();
  MX_SPI1_Init();
  MX_TIM2_Init();
  MX_TIM3_Init();
  MX_USART1_UART_Init();
  MX_TIM4_Init();
  MX_TIM1_Init();
  //MX_IWDG_Init();
  /* USER CODE BEGIN 2 */

  powerOutputDisable();

  mouseLedEnable();
  HAL_Delay(100);
  mouseLedDisable();

  setChargingLedHigh();
  setCanEnCmdLedHigh();
  setHVWarningLedHigh();
  setOutSwLedHigh();
  setErrorLedHigh();

  p("\n\nstart ORION BOOST %s %s\n\n", __DATE__, __TIME__);

  HAL_TIM_Base_Start(&htim1);

  // 1000ms -> 7400cnt
  // 7.4cnt per 1ms

  // kick
  HAL_TIM_PWM_Init(&htim3);
  __HAL_TIM_SET_COMPARE(&htim3, TIM_CHANNEL_1, 0);
  __HAL_TIM_SET_COMPARE(&htim3, TIM_CHANNEL_2, 0);
  __HAL_TIM_SET_AUTORELOAD(&htim3, TIM_KICK_PERI);
  __HAL_TIM_SET_AUTORELOAD(&htim3, TIM_KICK_PERI);
  HAL_TIM_PWM_Start(&htim3, TIM_CHANNEL_1);
  HAL_TIM_PWM_Start(&htim3, TIM_CHANNEL_2);

  // boost
  HAL_TIM_PWM_Init(&htim2);
  __HAL_TIM_SET_COMPARE(&htim2, TIM_CHANNEL_4, 0);
  __HAL_TIM_SET_AUTORELOAD(&htim2, 1000);
  HAL_TIM_PWM_Start(&htim2, TIM_CHANNEL_4);

  // GD negative PS
  HAL_TIM_PWM_Init(&htim4);
  __HAL_TIM_SET_COMPARE(&htim4, TIM_CHANNEL_2, 1000);
  __HAL_TIM_SET_AUTORELOAD(&htim4, 2000);
  HAL_TIM_PWM_Start(&htim4, TIM_CHANNEL_2);
  HAL_Delay(100);
  // wait charging

  // can init
  CAN_Filter_Init();
  HAL_CAN_Start(&hcan);

  setbuf(stdout, NULL);

  HAL_UART_Init(&huart1);

  HAL_ADC_Start(&hadc1);
  HAL_ADC_Start(&hadc3);
  HAL_ADC_Start(&hadc4);

  if (is_connect_ADNS3080()) {
    p("ADNS3080 OK!\n");
  } else {
    p("ADNS3080 not found...\n");
    while (1) {
      /* code */
    }
  }

  init_ADNS3080(true);

  if (isPushedUserSw1()) {
    mouseLedEnable();

    while (true) {
      // frame_print_ADNS3080();
      HAL_Delay(1);

      update_ADNS3080();
      p("Xv, %+3d, Yv, %+3d, QL, %4d, PosX, %5.3f, PosY, %5.3f\n", get_DeltaX_ADNS3080(), get_DeltaY_ADNS3080(), get_Qualty_ADNS3080(), (float)get_X_ADNS3080() / 1000, (float)get_Y_ADNS3080() / 1000);
      HAL_Delay(10);
    }
  }
  if (isPushedUserSw2()) {
    mouseLedEnable();
    while (true) {
      frame_print_ADNS3080();
      HAL_Delay(100);

      // update_ADNS3080();
      // p("\n\n%+3d %+3d %4d\n\n", get_DeltaX_ADNS3080(), get_DeltaY_ADNS3080(),
      // get_Qualty_ADNS3080()); HAL_Delay(100);
    }
  }

  setTargetVoltage(150);
  peak.batt_v_min = 30;
  peak.gd_16m_min = -10;
  peak.gd_16p_min = 20;

  connectionTest();

  HAL_UART_Receive_IT(&huart1, &uart1_rx_it_buffer, 1);

  uint8_t mouse_read_cnt = 0;

  // 32kHz,psr4, -> 8kHz,cnt=100, 12ms

  // !! start IWDG !!
  MX_IWDG_Init();

  /* USER CODE END 2 */

  /* Infinite loop */
  while (1) {

    /* USER CODE BEGIN 3 */

    HAL_IWDG_Refresh(&hiwdg);

    mouse_read_cnt++;
    if (mouse_read_cnt > 10) {
      mouse_read_cnt = 0;

      update_ADNS3080();
      sendCanMouse(get_DeltaX_ADNS3080(), get_DeltaY_ADNS3080(), get_Qualty_ADNS3080());
    }

    // wait 2ms cycle
    stat.system_loop_cnt = htim1.Instance->CNT;
    while (htim1.Instance->CNT < 2000) {
    }
    htim1.Instance->CNT = htim1.Instance->CNT - 1000;

    updateADCs();
    protecter();
    userInterface();
    canDataSender();

    // power SW control (timeout)
    if (power_cmd.sw_enable_cnt > 0) {
      power_cmd.sw_enable_cnt -= 1;
      setCanEnCmdLedHigh();
      stat.power_enabled = true;
    } else {
      setCanEnCmdLedLow();
      stat.power_enabled = false;
    }

    // stop control
    if (stat.error || !stat.power_enabled) {
      __HAL_TIM_SET_COMPARE(&htim3, TIM_CHANNEL_1, 0);
      __HAL_TIM_SET_COMPARE(&htim3, TIM_CHANNEL_2, 0);
      __HAL_TIM_SET_COMPARE(&htim2, TIM_CHANNEL_4, 0);
      powerOutputDisable();
      setErrorLedHigh();
      setOutSwLedLow();
      mouseLedDisable();
      stat.boost_cnt = 0;
      stat.kick_cnt = 0;
      continue;
    } else {
      mouseLedEnable();
      setOutSwLedHigh();
      setErrorLedLow();
      powerOutputEnable();
    }

    kickControl();
    boostControl();
  }
  /* USER CODE END 3 */
}

void SystemClock_Config(void)
{
  RCC_OscInitTypeDef RCC_OscInitStruct = {0};
  RCC_ClkInitTypeDef RCC_ClkInitStruct = {0};
  RCC_PeriphCLKInitTypeDef PeriphClkInit = {0};

  /** Initializes the RCC Oscillators according to the specified parameters
  * in the RCC_OscInitTypeDef structure.
  */
  RCC_OscInitStruct.OscillatorType = RCC_OSCILLATORTYPE_LSI | RCC_OSCILLATORTYPE_HSE;
  RCC_OscInitStruct.HSEState = RCC_HSE_ON;
  RCC_OscInitStruct.HSEPredivValue = RCC_HSE_PREDIV_DIV1;
  RCC_OscInitStruct.HSIState = RCC_HSI_ON;
  RCC_OscInitStruct.LSIState = RCC_LSI_ON;
  RCC_OscInitStruct.PLL.PLLState = RCC_PLL_ON;
  RCC_OscInitStruct.PLL.PLLSource = RCC_PLLSOURCE_HSE;
  RCC_OscInitStruct.PLL.PLLMUL = RCC_PLL_MUL9;
  if (HAL_RCC_OscConfig(&RCC_OscInitStruct) != HAL_OK) {
    Error_Handler();
  }

  /** Initializes the CPU, AHB and APB buses clocks
  */
  RCC_ClkInitStruct.ClockType = RCC_CLOCKTYPE_HCLK | RCC_CLOCKTYPE_SYSCLK | RCC_CLOCKTYPE_PCLK1 | RCC_CLOCKTYPE_PCLK2;
  RCC_ClkInitStruct.SYSCLKSource = RCC_SYSCLKSOURCE_PLLCLK;
  RCC_ClkInitStruct.AHBCLKDivider = RCC_SYSCLK_DIV1;
  RCC_ClkInitStruct.APB1CLKDivider = RCC_HCLK_DIV2;
  RCC_ClkInitStruct.APB2CLKDivider = RCC_HCLK_DIV1;

  if (HAL_RCC_ClockConfig(&RCC_ClkInitStruct, FLASH_LATENCY_2) != HAL_OK) {
    Error_Handler();
  }
  PeriphClkInit.PeriphClockSelection = RCC_PERIPHCLK_USART1 | RCC_PERIPHCLK_TIM1 | RCC_PERIPHCLK_ADC12 | RCC_PERIPHCLK_ADC34;
  PeriphClkInit.Usart1ClockSelection = RCC_USART1CLKSOURCE_PCLK2;
  PeriphClkInit.Adc12ClockSelection = RCC_ADC12PLLCLK_DIV1;
  PeriphClkInit.Adc34ClockSelection = RCC_ADC34PLLCLK_DIV1;
  PeriphClkInit.Tim1ClockSelection = RCC_TIM1CLK_HCLK;
  if (HAL_RCCEx_PeriphCLKConfig(&PeriphClkInit) != HAL_OK) {
    Error_Handler();
  }
}

void Error_Handler(void)
{
  __disable_irq();
  while (1) {
  }
}
